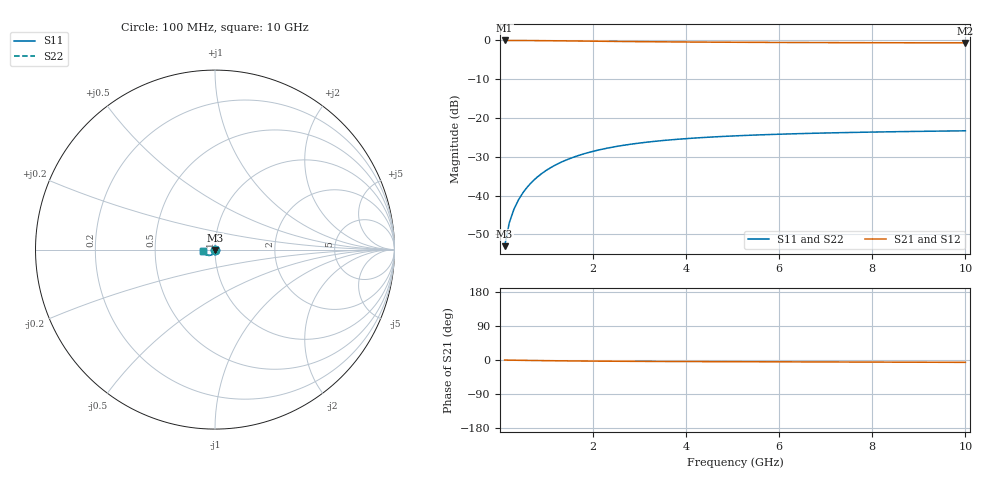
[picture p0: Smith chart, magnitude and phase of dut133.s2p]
! Touchstone file exported from HFSS 2024.1.0
!  File:  C:/UserFiles/LocalFiles/RDL_TSV_Batchsim/temp_TSV1_133_1778754050.aedt
!  Generated:  06:28:57 PM May 14, 2026
!  Design:  TSV1
!  Project:  temp_TSV1_133_1778754050
!  Setup:  Setup1
!  Solution:  Sweep
! Variables:
!  dtsv = 12.53um
!  hbump = 3um
!  htsv = 99.26um
!  lrdl = 252.1521522um
!  p = 40
!  p1 = 53.28um
!  t = 500um
!  trdl = 3um
!  wrdl = 24.89489489um
# GHz S MA R 50.000000
! Terminal data exported
! Port[1] = TSV22_T1
! Port[2] = TSV22_T2
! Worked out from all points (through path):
!   100 points, 100 MHz to 10 GHz, reference 50 ohm
!   highest |S21| = 0.00 dB at 100 MHz (marker M1); lowest = -0.6 dB at 10 GHz (marker M2)
!   lowest |S11| = -53.0 dB at 100 MHz (marker M3), VSWR 1.00, Z = 50 - j0.223 ohm
!   |S11| at or under -10 dB: start of sweep to end of sweep
!   |S22| runs from -53.0 to -23.3 dB; largest |S21 - S12| = 4.1e-15
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0.1  0.002229 -89.3  0.9998 -0.2  0.9998 -0.2  0.002229 -89.3
! Gamma 0 0 0 0
! Port Impedance 50 0 50 0
0.2  0.004451 -92.6  0.9996 -0.4  0.9996 -0.4  0.004451 -92.6
0.3  0.006666 -95.0  0.9992 -0.6  0.9992 -0.6  0.006666 -95.0
0.4  0.008862 -97.2  0.9986 -0.7  0.9986 -0.7  0.008862 -97.2
0.5  0.01103 -99.3  0.9979 -0.9  0.9979 -0.9  0.01103 -99.3
0.6  0.01317 -101.4  0.9971 -1.1  0.9971 -1.1  0.01317 -101.4
0.7  0.01526 -103.4  0.9962 -1.3  0.9962 -1.3  0.01526 -103.4
0.8  0.0173 -105.3  0.9952 -1.4  0.9952 -1.4  0.0173 -105.3
0.9  0.0193 -107.3  0.994 -1.6  0.994 -1.6  0.0193 -107.3
1.1  0.02311 -111.0  0.9916 -1.9  0.9916 -1.9  0.02311 -111.0
1.4  0.02837 -116.2  0.9874 -2.3  0.9874 -2.3  0.02837 -116.2
1.6  0.03156 -119.5  0.9845 -2.5  0.9845 -2.5  0.03156 -119.5
1.8  0.0345 -122.6  0.9816 -2.7  0.9816 -2.7  0.0345 -122.6
2.1  0.03846 -126.9  0.9772 -3.0  0.9772 -3.0  0.03846 -126.9
2.5  0.04297 -132.0  0.9716 -3.3  0.9716 -3.3  0.04297 -132.0
2.9  0.04673 -136.5  0.9665 -3.6  0.9665 -3.6  0.04673 -136.5
3.4  0.05058 -141.5  0.9609 -3.8  0.9609 -3.8  0.05058 -141.5
4.2  0.05527 -148.1  0.9535 -4.2  0.9535 -4.2  0.05527 -148.1
5.1  0.05905 -154.2  0.9472 -4.5  0.9472 -4.5  0.05906 -154.2
6.7  0.06351 -162.5  0.9394 -5.1  0.9394 -5.1  0.06351 -162.5
8.4  0.06649 -169.3  0.9342 -5.6  0.9342 -5.6  0.06649 -169.3
10  0.06842 -174.6  0.9309 -6.2  0.9309 -6.2  0.06842 -174.6
